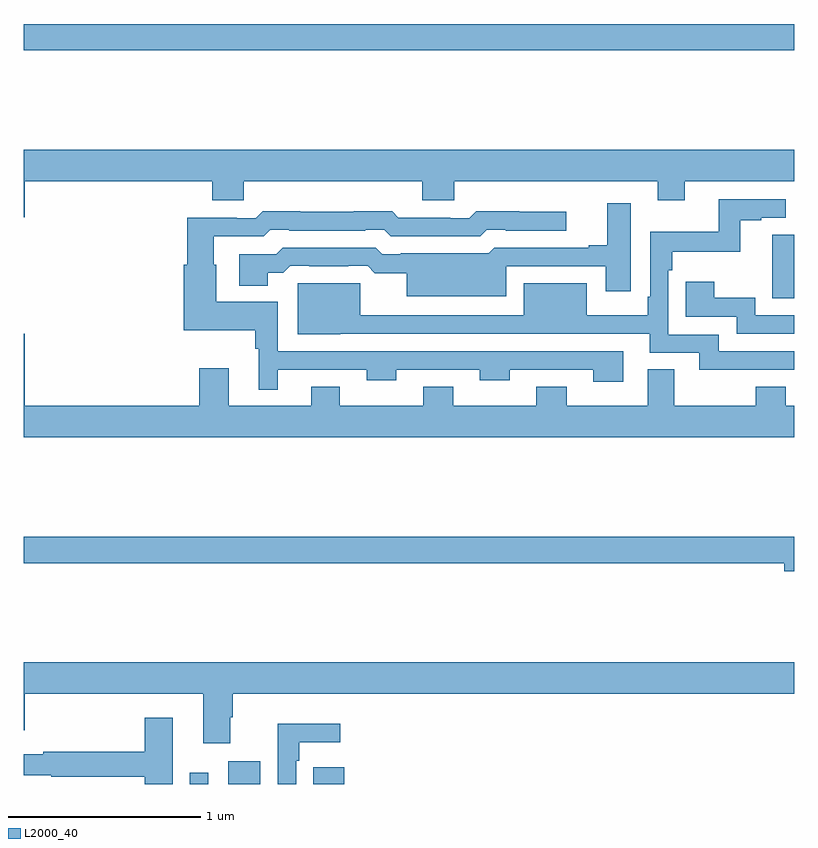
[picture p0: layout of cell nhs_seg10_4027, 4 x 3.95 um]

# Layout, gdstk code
import gdstk
lib = gdstk.Library(unit=1e-6, precision=1e-09)
def R(c, l, rs):  # rectangles x0, y0, x1, y1
    for r in rs: c.add(gdstk.rectangle(r[:2], r[2:], *l))
def P(c, l, *ps):  # polygons
    for p in ps: c.add(gdstk.Polygon(p, *l))
L2000_40 = (2000, 40)

nhs_seg10_4027 = lib.new_cell('nhs_seg10_4027')
R(nhs_seg10_4027, L2000_40, [(333.861,1314.5,333.957,1314.559), (334.061,1314.5,334.228,1314.619), (334.503,1314.5,334.664,1314.586), (336.887,1317.023,337,1317.352), (333,1318.312,337,1318.448)])
P(nhs_seg10_4027, L2000_40, [(333.004,1317.632),(333.977,1317.632),(333.977,1317.533),(334.142,1317.533),(334.142,1317.632),(335.069,1317.632),(335.069,1317.533),(335.234,1317.533),(335.234,1317.632),(336.293,1317.632),(336.293,1317.533),(336.433,1317.533),(336.433,1317.632),(337,1317.632),(337,1317.796),(333,1317.796),(333,1317.444),(333.004,1317.444)],
  [(336.713,1316.652),(337,1316.652),(337,1316.748),(336.61,1316.748),(336.61,1316.835),(336.348,1316.835),(336.348,1317.17),(336.368,1317.17),(336.368,1317.266),(336.721,1317.266),(336.721,1317.429),(336.831,1317.429),(336.831,1317.441),(336.958,1317.441),(336.958,1317.537),(336.608,1317.537),(336.608,1317.37),(336.252,1317.37),(336.252,1317.031),(336.24,1317.031),(336.24,1316.934),(335.923,1316.934),(335.923,1317.1),(335.597,1317.1),(335.597,1316.934),(334.747,1316.934),(334.747,1317.1),(334.421,1317.1),(334.421,1316.837),(334.643,1316.837),(334.643,1316.838),(336.251,1316.838),(336.251,1316.739),(336.509,1316.739),(336.509,1316.651),(336.713,1316.651)],
  [(335.505,1317.189),(336.023,1317.189),(336.023,1317.06),(336.151,1317.06),(336.151,1317.517),(336.029,1317.517),(336.029,1317.298),(335.933,1317.298),(335.933,1317.285),(335.444,1317.285),(335.415,1317.256),(334.957,1317.256),(334.957,1317.252),(334.861,1317.252),(334.828,1317.285),(334.344,1317.285),(334.311,1317.252),(334.119,1317.252),(334.119,1317.089),(334.267,1317.089),(334.267,1317.156),(334.347,1317.156),(334.383,1317.192),(334.483,1317.192),(334.483,1317.189),(334.685,1317.189),(334.685,1317.192),(334.785,1317.192),(334.823,1317.154),(334.988,1317.154),(334.988,1317.035),(335.505,1317.035)],
  [(334.318,1316.652),(334.78,1316.652),(334.78,1316.597),(334.935,1316.597),(334.935,1316.652),(335.368,1316.652),(335.368,1316.597),(335.523,1316.597),(335.523,1316.652),(335.956,1316.652),(335.956,1316.589),(336.112,1316.589),(336.112,1316.748),(334.317,1316.748),(334.317,1317.004),(334,1317.004),(334,1317.198),(333.985,1317.198),(333.985,1317.345),(334.245,1317.345),(334.278,1317.378),(334.378,1317.378),(334.378,1317.375),(334.772,1317.375),(334.772,1317.378),(334.872,1317.378),(334.905,1317.345),(335.37,1317.345),(335.403,1317.378),(335.503,1317.378),(335.503,1317.375),(335.818,1317.375),(335.818,1317.472),(335.574,1317.472),(335.574,1317.475),(335.35,1317.475),(335.313,1317.438),(335.213,1317.438),(335.213,1317.442),(334.945,1317.442),(334.913,1317.475),(334.714,1317.475),(334.714,1317.472),(334.436,1317.472),(334.436,1317.475),(334.241,1317.475),(334.205,1317.438),(334.106,1317.438),(334.106,1317.441),(333.848,1317.441),(333.848,1317.198),(333.83,1317.198),(333.83,1316.858),(334.201,1316.858),(334.201,1316.762),(334.22,1316.762),(334.22,1316.549),(334.318,1316.549)],
  [(337,1316.934),(336.798,1316.934),(336.798,1317.027),(336.585,1317.027),(336.585,1317.109),(336.437,1317.109),(336.437,1316.928),(336.702,1316.928),(336.702,1316.838),(337,1316.838)],
  [(337,1316.464),(336.957,1316.464),(336.957,1316.563),(336.802,1316.563),(336.802,1316.464),(336.379,1316.464),(336.379,1316.654),(336.239,1316.654),(336.239,1316.464),(335.82,1316.464),(335.82,1316.563),(335.662,1316.563),(335.662,1316.464),(335.229,1316.464),(335.229,1316.563),(335.074,1316.563),(335.074,1316.464),(334.641,1316.464),(334.641,1316.563),(334.493,1316.563),(334.493,1316.464),(334.063,1316.464),(334.063,1316.659),(333.911,1316.659),(333.911,1316.464),(333.004,1316.464),(333.004,1316.839),(333,1316.839),(333,1316.3),(337,1316.3)],
  [(337,1315.784),(333,1315.784),(333,1315.648),(336.95,1315.648),(336.95,1315.606),(337,1315.606)],
  [(334.072,1314.848),(334.085,1314.848),(334.085,1314.968),(337,1314.968),(337,1315.132),(333,1315.132),(333,1314.78),(333.004,1314.78),(333.004,1314.968),(333.932,1314.968),(333.932,1314.711),(334.072,1314.711)],
  [(333.772,1314.844),(333.626,1314.844),(333.626,1314.667),(333.1,1314.667),(333.1,1314.654),(333,1314.654),(333,1314.546),(333.142,1314.546),(333.142,1314.538),(333.626,1314.538),(333.626,1314.5),(333.772,1314.5)],
  [(334.413,1314.62),(334.429,1314.62),(334.429,1314.716),(334.642,1314.716),(334.642,1314.814),(334.317,1314.814),(334.317,1314.5),(334.413,1314.5)])

lib.write_gds('nhs_seg10_4027.gds')
